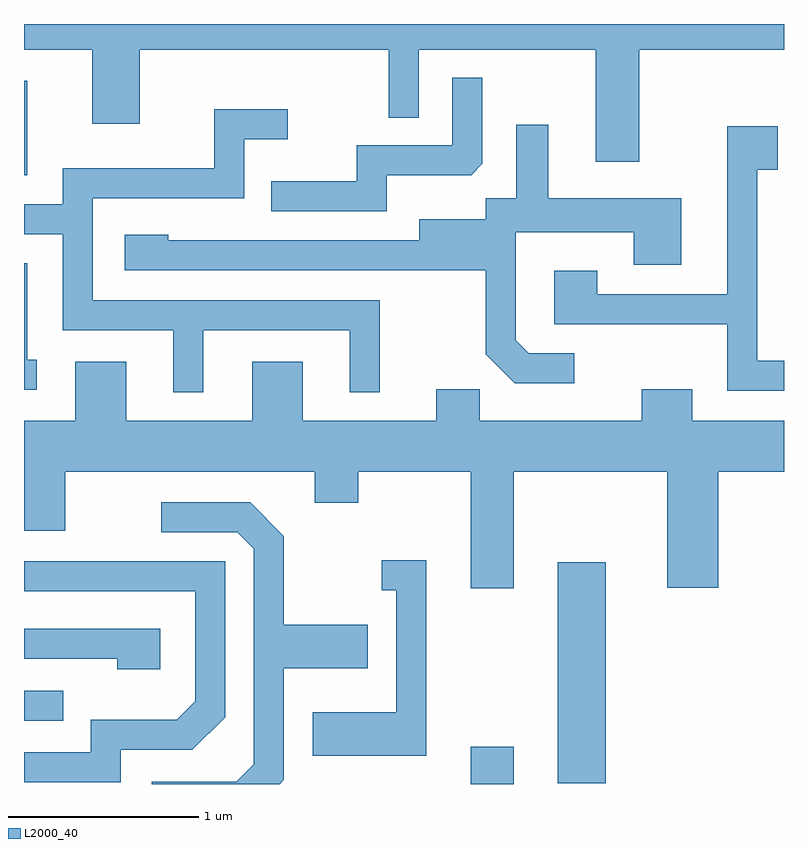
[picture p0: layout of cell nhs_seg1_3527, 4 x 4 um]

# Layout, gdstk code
import gdstk
lib = gdstk.Library(unit=1e-6, precision=1e-09)
def R(c, l, rs):  # rectangles x0, y0, x1, y1
    for r in rs: c.add(gdstk.rectangle(r[:2], r[2:], *l))
def P(c, l, *ps):  # polygons
    for p in ps: c.add(gdstk.Polygon(p, *l))
L2000_40 = (2000, 40)

nhs_seg1_3527 = lib.new_cell('nhs_seg1_3527')
R(nhs_seg1_3527, L2000_40, [(293.961,895.712,294.189,895.909), (294.421,895.716,294.674,896.879), (291.611,896.046,291.818,896.204), (291.611,898.916,291.629,899.414)])
P(nhs_seg1_3527, L2000_40, [(294.849,899.576),(295.611,899.576),(295.611,899.712),(291.611,899.712),(291.611,899.576),(291.971,899.576),(291.971,899.186),(292.219,899.186),(292.219,899.576),(293.531,899.576),(293.531,899.218),(293.689,899.218),(293.689,899.576),(294.621,899.576),(294.621,898.986),(294.849,898.986)],
  [(293.519,898.916),(293.964,898.916),(294.024,898.977),(294.024,899.428),(293.866,899.428),(293.866,899.074),(293.361,899.074),(293.361,898.884),(292.913,898.884),(292.913,898.726),(293.519,898.726)],
  [(292.554,898.101),(293.326,898.101),(293.326,897.773),(293.484,897.773),(293.484,898.259),(291.974,898.259),(291.974,898.796),(292.769,898.796),(292.769,899.106),(292.998,899.106),(292.998,899.264),(292.611,899.264),(292.611,898.954),(291.816,898.954),(291.816,898.764),(291.611,898.764),(291.611,898.606),(291.816,898.606),(291.816,898.101),(292.396,898.101),(292.396,897.773),(292.554,897.773)],
  [(294.508,897.979),(294.267,897.979),(294.199,898.047),(294.199,898.616),(294.821,898.616),(294.821,898.446),(295.069,898.446),(295.069,898.794),(294.369,898.794),(294.369,899.183),(294.201,899.183),(294.201,898.794),(294.041,898.794),(294.041,898.684),(293.691,898.684),(293.691,898.574),(292.369,898.574),(292.369,898.604),(292.141,898.604),(292.141,898.416),(294.041,898.416),(294.041,897.974),(294.194,897.821),(294.508,897.821)],
  [(295.611,897.939),(295.469,897.939),(295.469,898.946),(295.579,898.946),(295.579,899.174),(295.311,899.174),(295.311,898.289),(294.629,898.289),(294.629,898.414),(294.401,898.414),(294.401,898.131),(295.311,898.131),(295.311,897.781),(295.611,897.781)],
  [(291.678,897.944),(291.629,897.944),(291.629,898.454),(291.611,898.454),(291.611,897.786),(291.678,897.786)],
  [(294.189,897.356),(294.996,897.356),(294.996,896.746),(295.264,896.746),(295.264,897.356),(295.611,897.356),(295.611,897.624),(295.129,897.624),(295.129,897.789),(294.861,897.789),(294.861,897.624),(294.009,897.624),(294.009,897.789),(293.781,897.789),(293.781,897.624),(293.079,897.624),(293.079,897.934),(292.811,897.934),(292.811,897.624),(292.149,897.624),(292.149,897.934),(291.881,897.934),(291.881,897.624),(291.611,897.624),(291.611,897.046),(291.829,897.046),(291.829,897.356),(293.141,897.356),(293.141,897.191),(293.369,897.191),(293.369,897.356),(293.961,897.356),(293.961,896.741),(294.189,896.741)],
  [(292.979,895.734),(292.979,896.321),(293.419,896.321),(293.419,896.549),(292.979,896.549),(292.979,897.017),(292.802,897.194),(292.333,897.194),(292.333,897.036),(292.734,897.036),(292.821,896.949),(292.821,895.817),(292.729,895.724),(292.283,895.724),(292.283,895.712),(292.957,895.712)],
  [(293.729,896.889),(293.493,896.889),(293.493,896.731),(293.571,896.731),(293.571,896.089),(293.131,896.089),(293.131,895.861),(293.729,895.861)],
  [(292.119,895.891),(292.497,895.891),(292.669,896.064),(292.669,896.884),(291.611,896.884),(291.611,896.726),(292.511,896.726),(292.511,896.147),(292.414,896.049),(291.961,896.049),(291.961,895.879),(291.611,895.879),(291.611,895.721),(292.119,895.721)],
  [(292.329,896.529),(291.611,896.529),(291.611,896.371),(292.101,896.371),(292.101,896.316),(292.329,896.316)])

lib.write_gds('nhs_seg1_3527.gds')
